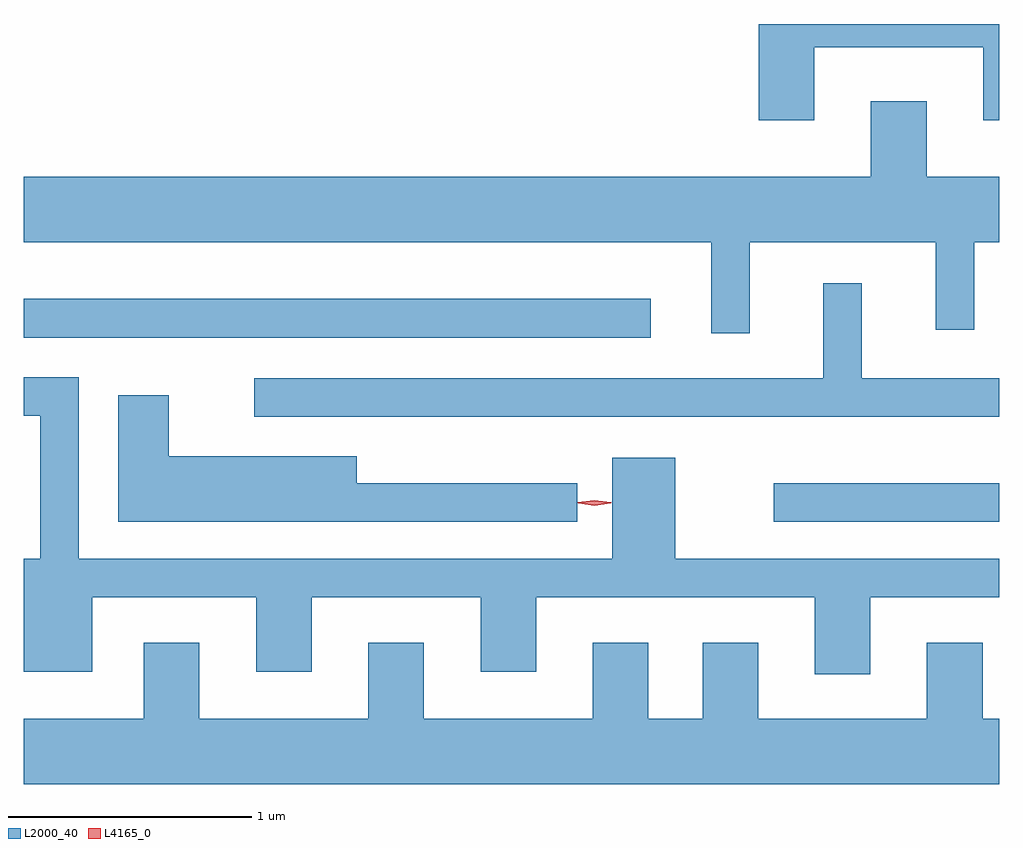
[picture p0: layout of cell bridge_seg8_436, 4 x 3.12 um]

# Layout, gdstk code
import gdstk
lib = gdstk.Library(unit=1e-6, precision=1e-09)
def R(c, l, rs):  # rectangles x0, y0, x1, y1
    for r in rs: c.add(gdstk.rectangle(r[:2], r[2:], *l))
def P(c, l, *ps):  # polygons
    for p in ps: c.add(gdstk.Polygon(p, *l))
L2000_40 = (2000, 40)
L4165_0 = (4165, 0)

bridge_seg8_436 = lib.new_cell('bridge_seg8_436')
R(bridge_seg8_436, L2000_40, [(999.043,1846.371,999.968,1846.529), (995.968,1847.126,998.538,1847.284)])
P(bridge_seg8_436, L2000_40, [(999.209,1848.316),(999.901,1848.316),(999.901,1848.016),(999.968,1848.016),(999.968,1848.411),(998.981,1848.411),(998.981,1848.016),(999.209,1848.016)],
  [(998.944,1847.516),(999.706,1847.516),(999.706,1847.158),(999.864,1847.158),(999.864,1847.516),(999.968,1847.516),(999.968,1847.784),(999.669,1847.784),(999.669,1848.094),(999.441,1848.094),(999.441,1847.784),(995.968,1847.784),(995.968,1847.516),(998.786,1847.516),(998.786,1847.143),(998.944,1847.143)],
  [(999.968,1846.959),(999.404,1846.959),(999.404,1847.348),(999.246,1847.348),(999.246,1846.959),(996.913,1846.959),(996.913,1846.801),(999.968,1846.801)],
  [(999.439,1846.061),(999.968,1846.061),(999.968,1846.219),(998.639,1846.219),(998.639,1846.634),(998.381,1846.634),(998.381,1846.219),(996.194,1846.219),(996.194,1846.964),(995.968,1846.964),(995.968,1846.806),(996.036,1846.806),(996.036,1846.219),(995.968,1846.219),(995.968,1845.756),(996.249,1845.756),(996.249,1846.061),(996.921,1846.061),(996.921,1845.756),(997.149,1845.756),(997.149,1846.061),(997.841,1846.061),(997.841,1845.756),(998.069,1845.756),(998.069,1846.061),(999.211,1846.061),(999.211,1845.746),(999.439,1845.746)],
  [(998.238,1846.529),(997.334,1846.529),(997.334,1846.639),(996.564,1846.639),(996.564,1846.889),(996.356,1846.889),(996.356,1846.371),(998.238,1846.371)],
  [(999.968,1845.564),(999.899,1845.564),(999.899,1845.874),(999.671,1845.874),(999.671,1845.564),(998.979,1845.564),(998.979,1845.874),(998.751,1845.874),(998.751,1845.564),(998.529,1845.564),(998.529,1845.874),(998.301,1845.874),(998.301,1845.564),(997.609,1845.564),(997.609,1845.874),(997.381,1845.874),(997.381,1845.564),(996.689,1845.564),(996.689,1845.874),(996.461,1845.874),(996.461,1845.564),(995.968,1845.564),(995.968,1845.296),(999.968,1845.296)])
P(bridge_seg8_436, L4165_0, [(998.308,1846.44),(998.239,1846.449),(998.239,1846.45),(998.239,1846.45),(998.308,1846.459),(998.376,1846.45),(998.377,1846.449),(998.376,1846.449)],
  [(998.308,1846.437),(998.243,1846.447),(998.242,1846.447),(998.243,1846.448),(998.308,1846.457),(998.374,1846.447),(998.374,1846.447),(998.374,1846.446)])

lib.write_gds('bridge_seg8_436.gds')
